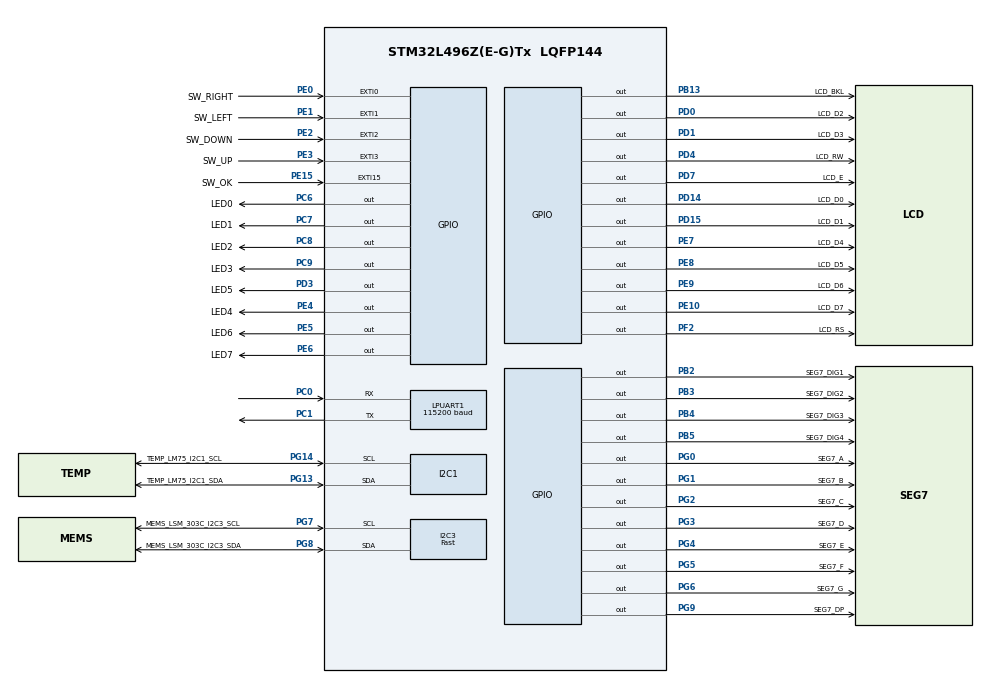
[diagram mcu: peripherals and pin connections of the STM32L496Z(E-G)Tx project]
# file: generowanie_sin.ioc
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Dma.LPUART_RX.1.Direction=DMA_PERIPH_TO_MEMORY
Dma.LPUART_RX.1.Instance=DMA2_Channel7
Dma.LPUART_RX.1.MemDataAlignment=DMA_MDATAALIGN_BYTE
Dma.LPUART_RX.1.MemInc=DMA_MINC_ENABLE
Dma.LPUART_RX.1.Mode=DMA_NORMAL
Dma.LPUART_RX.1.PeriphDataAlignment=DMA_PDATAALIGN_BYTE
Dma.LPUART_RX.1.PeriphInc=DMA_PINC_DISABLE
Dma.LPUART_RX.1.Priority=DMA_PRIORITY_LOW
Dma.LPUART_TX.0.Direction=DMA_MEMORY_TO_PERIPH
Dma.LPUART_TX.0.Instance=DMA2_Channel6
Dma.LPUART_TX.0.MemDataAlignment=DMA_MDATAALIGN_BYTE
Dma.LPUART_TX.0.MemInc=DMA_MINC_ENABLE
Dma.LPUART_TX.0.Mode=DMA_NORMAL
Dma.LPUART_TX.0.PeriphDataAlignment=DMA_PDATAALIGN_BYTE
Dma.LPUART_TX.0.PeriphInc=DMA_PINC_DISABLE
Dma.LPUART_TX.0.Priority=DMA_PRIORITY_LOW
Dma.Request0=LPUART_TX
Dma.Request1=LPUART_RX
I2C1.I2C_Fall_Time=300
I2C1.I2C_Rise_Time=300
I2C1.Timing=0x00200D12
I2C3.I2C_Rise_Time=300
I2C3.I2C_Speed_Mode=I2C_Fast
I2C3.Timing=0x00100002
LPUART1.BaudRate=115200
LPUART1.OverrunDisableParam=UART_ADVFEATURE_OVERRUN_DISABLE
LPUART1.WordLength=UART_WORDLENGTH_8B
Mcu.Family=STM32L4
Mcu.Name=STM32L496Z(E-G)Tx
Mcu.Package=LQFP144
NVIC.DMA2_Channel6_IRQn=true\:0\:0\:false\:false\:true\:false\:true
NVIC.DMA2_Channel7_IRQn=true\:0\:0\:false\:false\:true\:false\:true
NVIC.EXTI0_IRQn=true\:0\:0\:false\:false\:true\:true\:true
NVIC.EXTI15_10_IRQn=true\:0\:0\:false\:false\:true\:true\:true
NVIC.EXTI1_IRQn=true\:0\:0\:false\:false\:true\:true\:true
NVIC.EXTI2_IRQn=true\:0\:0\:false\:false\:true\:true\:true
NVIC.EXTI3_IRQn=true\:0\:0\:false\:false\:true\:true\:true
NVIC.LPUART1_IRQn=true\:0\:0\:false\:false\:true\:true\:true
NVIC.PriorityGroup=NVIC_PRIORITYGROUP_4
PA13\ (JTMS/SWDIO).Mode=Serial_Wire
PA13\ (JTMS/SWDIO).Signal=SYS_JTMS-SWDIO
PA14\ (JTCK/SWCLK).Mode=Serial_Wire
PA14\ (JTCK/SWCLK).Signal=SYS_JTCK-SWCLK
PB13.GPIO_Label=LCD_BKL
PB13.Signal=GPIO_Output
PB2.GPIO_Label=SEG7_DIG1
PB2.Signal=GPIO_Output
PB3\ (JTDO/TRACESWO).GPIO_Label=SEG7_DIG2
PB3\ (JTDO/TRACESWO).Signal=GPIO_Output
PB4\ (NJTRST).GPIO_Label=SEG7_DIG3
PB4\ (NJTRST).Signal=GPIO_Output
PB5.GPIO_Label=SEG7_DIG4
PB5.Signal=GPIO_Output
PC0.Mode=Asynchronous
PC0.Signal=LPUART1_RX
PC1.Mode=Asynchronous
PC1.Signal=LPUART1_TX
PC6.GPIO_Label=LED0
PC6.Signal=GPIO_Output
PC7.GPIO_Label=LED1
PC7.Signal=GPIO_Output
PC8.GPIO_Label=LED2
PC8.Signal=GPIO_Output
PC9.GPIO_Label=LED3
PC9.Signal=GPIO_Output
PD0.GPIO_Label=LCD_D2
PD0.Signal=GPIO_Output
PD1.GPIO_Label=LCD_D3
PD1.Signal=GPIO_Output
PD14.GPIO_Label=LCD_D0
PD14.Signal=GPIO_Output
PD15.GPIO_Label=LCD_D1
PD15.Signal=GPIO_Output
PD3.GPIO_Label=LED5
PD3.Signal=GPIO_Output
PD4.GPIO_Label=LCD_RW
PD4.Signal=GPIO_Output
PD7.GPIO_Label=LCD_E
PD7.Signal=GPIO_Output
PE0.GPIO_Label=SW_RIGHT
PE0.GPIO_ModeDefaultEXTI=GPIO_MODE_IT_FALLING
PE0.Signal=GPXTI0
PE1.GPIO_Label=SW_LEFT
PE1.GPIO_ModeDefaultEXTI=GPIO_MODE_IT_FALLING
PE1.Signal=GPXTI1
PE10.GPIO_Label=LCD_D7
PE10.Signal=GPIO_Output
PE15.GPIO_Label=SW_OK
PE15.GPIO_ModeDefaultEXTI=GPIO_MODE_IT_FALLING
PE15.Signal=GPXTI15
PE2.GPIO_Label=SW_DOWN
PE2.GPIO_ModeDefaultEXTI=GPIO_MODE_IT_FALLING
PE2.Signal=GPXTI2
PE3.GPIO_Label=SW_UP
PE3.GPIO_ModeDefaultEXTI=GPIO_MODE_IT_FALLING
PE3.Signal=GPXTI3
PE4.GPIO_Label=LED4
PE4.Signal=GPIO_Output
PE5.GPIO_Label=LED6
PE5.Signal=GPIO_Output
PE6.GPIO_Label=LED7
PE6.Signal=GPIO_Output
PE7.GPIO_Label=LCD_D4
PE7.Signal=GPIO_Output
PE8.GPIO_Label=LCD_D5
PE8.Signal=GPIO_Output
PE9.GPIO_Label=LCD_D6
PE9.Signal=GPIO_Output
PF2.GPIO_Label=LCD_RS
PF2.Signal=GPIO_Output
PG0.GPIO_Label=SEG7_A
PG0.Signal=GPIO_Output
PG1.GPIO_Label=SEG7_B
PG1.Signal=GPIO_Output
PG13.GPIO_Label=TEMP_LM75_I2C1_SDA
PG13.Mode=I2C
PG13.Signal=I2C1_SDA
PG14.GPIO_Label=TEMP_LM75_I2C1_SCL
PG14.Mode=I2C
PG14.Signal=I2C1_SCL
PG15.GPIO_Label=LM75_INT
PG15.Signal=I2C1_SMBA
PG2.GPIO_Label=SEG7_C
PG2.Signal=GPIO_Output
PG3.GPIO_Label=SEG7_D
PG3.Signal=GPIO_Output
PG4.GPIO_Label=SEG7_E
PG4.Signal=GPIO_Output
PG5.GPIO_Label=SEG7_F
PG5.Signal=GPIO_Output
PG6.GPIO_Label=SEG7_G
PG6.Signal=GPIO_Output
PG7.GPIO_Label=MEMS_LSM_303C_I2C3_SCL
PG7.Mode=I2C
PG7.Signal=I2C3_SCL
PG8.GPIO_Label=MEMS_LSM_303C_I2C3_SDA
PG8.Mode=I2C
PG8.Signal=I2C3_SDA
PG9.GPIO_Label=SEG7_DP
PG9.Signal=GPIO_Output
ProjectManager.HeapSize=0x200
ProjectManager.StackSize=0x400
ProjectManager.TargetToolchain=STM32CubeIDE
RCC.HSE_VALUE=8000000
RCC.HSI48_VALUE=48000000
RCC.HSI_VALUE=16000000
RCC.LSE_VALUE=32768
RCC.MSI_VALUE=4000000
RCC.VCOOutputFreq_Value=32000000
board=custom

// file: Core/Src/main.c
/* USER CODE BEGIN Header */
/**
 ******************************************************************************
 * @file           : main.c
 * @brief          : Main program body
 ******************************************************************************
 * @attention
 *
 * <h2><center>&copy; Copyright (c) 2021 STMicroelectronics.
 * All rights reserved.</center></h2>
 *
 * This software component is licensed by ST under BSD 3-Clause license,
 * the "License"; You may not use this file except in compliance with the
 * License. You may obtain a copy of the License at:
 *                        opensource.org/licenses/BSD-3-Clause
 *
 ******************************************************************************
 */
/* USER CODE END Header */
#include "main.h"
#include "dma.h"
#include "i2c.h"
#include "usart.h"
#include "gpio.h"

/* USER CODE BEGIN Includes */
#include "display.h"
#include "lcd.h"
#include "lsm303c.h"
#include <stdio.h>
/* USER CODE END Includes */

/* USER CODE BEGIN PTD */
typedef struct {
	int16_t x;
	int16_t y;
	int16_t z;
} ACC_XYZ_TypeDef;
/* USER CODE END PTD */

/* USER CODE BEGIN PD */
#define TEMP_LM75_I2C_ADDR 0X48

#define TEMP_LM75_TEMP_REG 0
#define TEMP_LM75_CONF_REG 1
#define TEMP_LM75_THYS_REG 2
#define TEMP_LM75_TOS_REG 3

#define TEMP_LM75_RESOLUTION 0.5f
#define ACC_LSM303C_I2C_ADDR 0x1D

#define LINE_MAX_LENGTH	80
/* USER CODE END PD */

void SystemClock_Config(void);

/* USER CODE BEGIN 0 */
/*uint8_t LM75_ReadReg8(uint8_t regAddr){
	uint8_t regValue;
	if (HAL_I2C_Mem_Read(&hi2c1, TEMP_LM75_I2C_ADDR << 1, regAddr, 1,
			(uint8_t*) &regValue, 1, 1000) != HAL_OK)
		Error_Handler();
	return regValue;
}

uint16_t LM75_ReadReg16(uint8_t regAddr){
	uint8_t regValue[2];
	if (HAL_I2C_Mem_Read(&hi2c1,TEMP_LM75_I2C_ADDR << 1, regAddr, 1,
			(uint8_t*) regValue, 2, 1000) != HAL_OK)
		Error_Handler();
	return ((((uint16_t)regValue[0]) << 8) | regValue[1]);
}

int16_t TEMP_GetTempI(void) {
	return (LM75_ReadReg16(TEMP_LM75_TEMP_REG) >> 8);
}

float TEMP_GetTempF(void) {
	return ((LM75_ReadReg16(TEMP_LM75_TEMP_REG) >> 7)
			* TEMP_LM75_RESOLUTION);
}

HAL_StatusTypeDef ACC_LSM303C_Init(uint8_t acc_datarate, uint8_t acc_fullscale){
	uint8_t reg[1];
	HAL_StatusTypeDef status;
	if (HAL_I2C_Mem_Read(&hi2c3, ACC_LSM303C_I2C_ADDR << 1,
			LSM303C_WHO_AM_I_ADDR, 1, reg, 1, 1000) != HAL_OK) {
		Error_Handler();
	} else {
		if (reg[0] != LMS303C_ACC_ID)
				return HAL_ERROR;
	}
	reg[0] = (acc_datarate | LSM303C_ACC_AXES_ENABLE);
	status = HAL_I2C_Mem_Write(&hi2c3, ACC_LSM303C_I2C_ADDR << 1,
			LSM303C_CTRL_REG1_A, 1, reg, 1, 1000);

	reg[0] = (acc_fullscale | 4);
		status = HAL_I2C_Mem_Write(&hi2c3, ACC_LSM303C_I2C_ADDR << 1,
				LSM303C_CTRL_REG4_A, 1, reg, 1, 1000);

	return status;
}

void ACC_LSM303C_ReadXYZ(ACC_XYZ_TypeDef *res) {
	if (HAL_I2C_Mem_Read(&hi2c3, ACC_LSM303C_I2C_ADDR << 1,
			LSM303C_OUT_X_L_A | 0x80, 1, (uint8_t*)res, 6, 1000) != HAL_OK)
		Error_Handler();
}

static char line_buffer[LINE_MAX_LENGTH + 1];
static uint32_t line_length;

void line_append(uint8_t value)
{
	if (value == '\r' || value == '\n') {
		// odebraliśmy znak końca linii
		if (line_length > 0) {
			// dodajemy 0 na końcu linii
			line_buffer[line_length] = '\0';
			// przetwarzamy dane
			if (strcmp(line_buffer, "LED=0") == 0) {
				HAL_GPIO_WritePin(LED0_GPIO_Port, LED0_Pin, GPIO_PIN_SET);
			} else if (strcmp(line_buffer, "LED=1") == 0) {
				HAL_GPIO_WritePin(LED1_GPIO_Port, LED1_Pin, GPIO_PIN_SET);
			}else if (strcmp(line_buffer, "LED=2") == 0) {
				HAL_GPIO_WritePin(LED2_GPIO_Port, LED2_Pin, GPIO_PIN_SET);
			}	else if (strcmp(line_buffer, "LED=3") == 0) {
				HAL_GPIO_WritePin(LED3_GPIO_Port, LED3_Pin, GPIO_PIN_SET);
			}	else if (strcmp(line_buffer, "LED=4") == 0) {
				HAL_GPIO_WritePin(LED4_GPIO_Port, LED4_Pin, GPIO_PIN_SET);
			}	else if (strcmp(line_buffer, "LED=5") == 0) {
				HAL_GPIO_WritePin(LED5_GPIO_Port, LED5_Pin, GPIO_PIN_SET);
			}	else if (strcmp(line_buffer, "LED=6") == 0) {
				HAL_GPIO_WritePin(LED6_GPIO_Port, LED6_Pin, GPIO_PIN_SET);
			}	else if (strcmp(line_buffer, "LED=7") == 0) {
				HAL_GPIO_WritePin(LED7_GPIO_Port, LED7_Pin, GPIO_PIN_SET);
			} else if (strcmp(line_buffer, "TEM") == 0){
				  printf("%d\n", TEMP_GetTempI());
						  printf("OK\r\n");

			}else{
				printf("Nieznane polecenie: %s\r\n", line_buffer);

			}

			// zaczynamy zbieranie danych od nowa
			line_length = 0;
		}
	}
	else {
		if (line_length >= LINE_MAX_LENGTH) {
			// za dużo danych, usuwamy wszystko co odebraliśmy dotychczas
			line_length = 0;
		}
		// dopisujemy wartość do bufora
		line_buffer[line_length++] = value;

	}

} */

/* USER CODE END 0 */

int main(void)
{

  /* MCU Configuration--------------------------------------------------------*/

  /* Reset of all peripherals, Initializes the Flash interface and the Systick. */
 HAL_Init();

  /* Configure the system clock */
  SystemClock_Config();

  /* Initialize all configured peripherals */
  MX_GPIO_Init();
  MX_DMA_Init();
  MX_LPUART1_UART_Init();
  MX_I2C1_Init();
  MX_I2C3_Init();

  /* Infinite loop */
  /* USER CODE BEGIN WHILE */

  float f=1;
  float kat =0;
  float PI=3.14;

  while (1)
   {
	  for(int i=0; i<100; i++){
		  if (HAL_GPIO_ReadPin(SW_RIGHT_GPIO_Port, SW_RIGHT_Pin) == GPIO_PIN_RESET){// jesli odczytany stan przycisku jest niski
			  if (f+1<=100)//sprawdzamy czy zakres nie zostal przekroczony
			  {
				  f=f+1;
			  }
		  }
		  else if (HAL_GPIO_ReadPin(SW_LEFT_GPIO_Port, SW_LEFT_Pin) == GPIO_PIN_RESET)
		 		 {
		 			 if (f - 1 >= 0)
		 			 {
		 				 f = f - 1;
		 			 }
		 		 }

		  float phaseStep=2*PI*f/100;
		  kat += phaseStep;
		  float wynik = sin(kat);

		  SEG_DisplayDec(f);

		  printf("%f\r\n", wynik); //wyisuje sinus

		  HAL_Delay(10);

	  }

    /* USER CODE END WHILE */

	}
}

void SystemClock_Config(void)
{
  RCC_OscInitTypeDef RCC_OscInitStruct = {0};
  RCC_ClkInitTypeDef RCC_ClkInitStruct = {0};

  /** Configure the main internal regulator output voltage
  */
  if (HAL_PWREx_ControlVoltageScaling(PWR_REGULATOR_VOLTAGE_SCALE1) != HAL_OK)
  {
    Error_Handler();
  }
  /** Initializes the RCC Oscillators according to the specified parameters
  * in the RCC_OscInitTypeDef structure.
  */
  RCC_OscInitStruct.OscillatorType = RCC_OSCILLATORTYPE_MSI;
  RCC_OscInitStruct.MSIState = RCC_MSI_ON;
  RCC_OscInitStruct.MSICalibrationValue = 0;
  RCC_OscInitStruct.MSIClockRange = RCC_MSIRANGE_6;
  RCC_OscInitStruct.PLL.PLLState = RCC_PLL_NONE;
  if (HAL_RCC_OscConfig(&RCC_OscInitStruct) != HAL_OK)
  {
    Error_Handler();
  }
  /** Initializes the CPU, AHB and APB buses clocks
  */
  RCC_ClkInitStruct.ClockType = RCC_CLOCKTYPE_HCLK|RCC_CLOCKTYPE_SYSCLK
                              |RCC_CLOCKTYPE_PCLK1|RCC_CLOCKTYPE_PCLK2;
  RCC_ClkInitStruct.SYSCLKSource = RCC_SYSCLKSOURCE_MSI;
  RCC_ClkInitStruct.AHBCLKDivider = RCC_SYSCLK_DIV1;
  RCC_ClkInitStruct.APB1CLKDivider = RCC_HCLK_DIV1;
  RCC_ClkInitStruct.APB2CLKDivider = RCC_HCLK_DIV1;

  if (HAL_RCC_ClockConfig(&RCC_ClkInitStruct, FLASH_LATENCY_0) != HAL_OK)
  {
    Error_Handler();
  }
}

/* USER CODE BEGIN 4 */
void HAL_SYSTICK_Callback(void) {
	SEG_Callback();
}
/* USER CODE END 4 */

void Error_Handler(void)
{
	__disable_irq();
	while (1) {
	}
}

/************************ (C) COPYRIGHT STMicroelectronics *****END OF FILE****/
